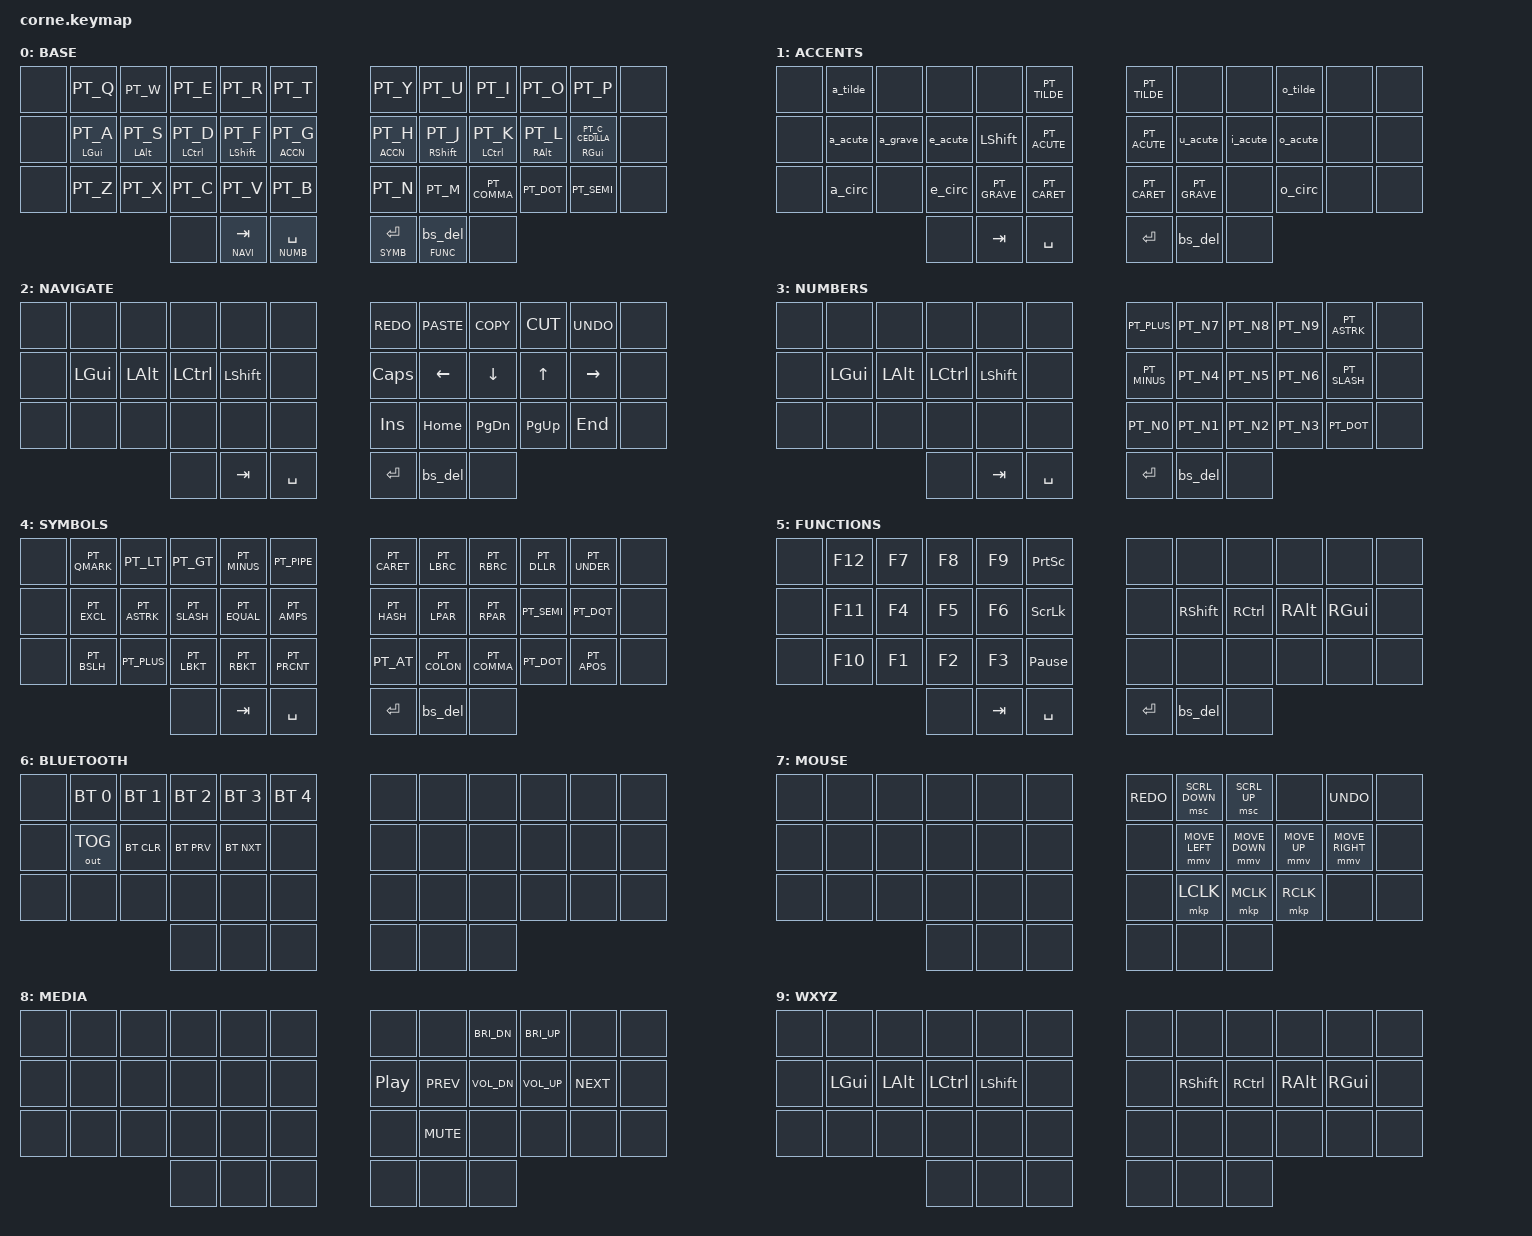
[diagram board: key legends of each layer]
/*
 * Copyright (c) 2020 The ZMK Contributors
 *
 * SPDX-License-Identifier: MIT
 */

// ZMK headers
#include <behaviors.dtsi>
#include <dt-bindings/zmk/bt.h>
#include <dt-bindings/zmk/keys.h>
#include <dt-bindings/zmk/outputs.h>
#include <dt-bindings/zmk/pointing.h>
#include "keys_pt_abnt2.h"              //  ABNT2 keyboard

#define HM_TAPPING_TERM 200
#define HM_PRIOR_IDLE   150

// Layer definitions
#define BASE  0                         //  Camada base
#define ACCN  1                         //  Acentos e letras já acentuadas
#define NAVI  2                         //  Navegação
#define NUMB  3                         //  Números e símbolos de fácil acesso
#define SYMB  4                         //  Símbolos
#define FUNC  5                         //  Funções
#define BLTH  6                         //  Bluetooth e funções de conectividade sem fio
#define MOUS  7                         //  Mouse keys e funções de controle de cursor
#define MDIA  8                         //  Ativa a camada de mídia
#define WXYZ  9                         //  Camada reserva

// Behavior configuration
&mt {
  tapping-term-ms   = <HM_TAPPING_TERM>;
  flavor            = "tap-preferred";
};

&lt {
  tapping-term-ms   = <HM_TAPPING_TERM>;
  flavor            = "tap-preferred";
};

/ {
  combos {
    compatible        = "zmk,combos";

    //  Combo CAPS_WORD:
    combo_caps_word {
      //  Apertar as letras "F" (16) + "J" (19) juntos ativa o CAPS_WORD
      key-positions   = <16 19>;      //  Posição física das teclas F e J
      bindings        = <&caps_word>;
    };

    //  Combos tecla ESC:
    combo_esc_left {
      //  Apertar as letras "E" (3) + "T" (4) juntos ativa a tecla ESC
      key-positions   = <3 4>;      //  Posição física das teclas E e T
      bindings        = <&kp ESC>;
    };
    combo_esc_right {
      //  Apertar as letras "U" (7) + "I" (8) juntos ativa a tecla ESC
      key-positions   = <7 8>;      //  Posição física das teclas U e I
      bindings        = <&kp ESC>;
    };

    //  Combos tecla ENTER:
    combo_enter_left {
      //  Apertar as letras "C" (27) + "V" (28) juntos ativa a tecla ENTER
      key-positions   = <27 28>;      //  Posição física das teclas C e V
      bindings        = <&kp ENTER>;
    };
    combo_enter_right {
      //  Apertar as letras "M" (31) + "," (32) juntos ativa a tecla ENTER
      key-positions   = <31 32>;      //  Posição física das teclas M e ,
      bindings        = <&kp ENTER>;
    };

    //  Camada do mouse:
    combo_mouse {
      //  Apertar a letra "B" (29) + "TAB" (37) juntos abre a camada MOUS
      timeout-ms      = <50>;         //  Janela de tempo para o aperto simultâneo
      key-positions   = <29 37>;      //  Posição física das teclas B e TAB
      bindings        = <&mo MOUS>;   //  Ativa temporariamente a camada Mouse
    };

    //  Camada de bluetooth:
    combo_bluetooth {
      //  Apertar a letra "N" (30) + "BSPC" (40) juntos abre a Camada BLTH
      timeout-ms      = <50>;         //  Janela de tempo para o aperto simultâneo
      key-positions   = <30 40>;      //  Posição física das teclas N e BSPC
      bindings        = <&mo BLTH>;   //  Ativa temporariamente a camada Bluetooth
    };

    //  Camada de mídia:
    combo_media {
      //  Apertar a letra "V" (28) + "TAB" (37) juntos abre a Camada MDIA
      timeout-ms      = <50>;         //  Janela de tempo para o aperto simultâneo
      key-positions   = <28 37>;      //  Posição física das teclas V e TAB
      bindings        = <&mo MDIA>;   //  Ativa temporariamente a camada MEDIA
    };

    // Fixar camada de acentos (ACCN)
    combo_lock_accents {
      //  Apertar as letras "G" (17) + "H" (18) fixa ACCN
      timeout-ms      = <60>;
      key-positions   = <17 18>;
      bindings        = <&to ACCN>;
    };

    // Fixar camada de navegação (NAVI)
    combo_lock_navi {
      //  Apertar a letra "G" (17) + "TAB" (37) fixa NAVI
      timeout-ms      = <60>;
      key-positions   = <17 37>;
      bindings        = <&to NAVI>;
    };

    // Fixar camada de números (NUMB)
    combo_lock_numb {
      //  Apertar a tecla "G" (17) + "SPACE" (38) fixa NUMB
      timeout-ms      = <60>;
      key-positions   = <17 38>;
      bindings        = <&to NUMB>;
    };

    // Fixar camada de símbolos (SYMB)
    combo_lock_symb {
      //  Apertar a tecla "H" (18) + "ENTER" (39) fixa SYMB
      timeout-ms      = <60>;
      key-positions   = <18 39>;
      bindings        = <&to SYMB>;
    };

    // Fixar camada de funções (FUNC)
    combo_lock_func {
      //  Apertar a tecla "H" (18) + "BSPC" (40) fixa FUNC
      timeout-ms      = <60>;
      key-positions   = <18 40>;
      bindings        = <&to FUNC>;
    };

    // Fixar camada default (BASE)
    combo_lock_base {
      //  Apertar a tecla "SPACE" (38) + "ENTER" (39) fixa SYMB
      timeout-ms      = <60>;
      key-positions   = <38 39>;
      bindings        = <&to BASE>;
    };
  };

  macros {
    accent: acute {
      compatible      = "zmk,behavior-macro-two-param";
      label           = "ACUTE";
      #binding-cells  = <2>;
      bindings        = <&macro_tap>
                      , <&macro_param_1to1 &kp MACRO_PLACEHOLDER>
                      , <&macro_tap>
                      , <&macro_param_2to1 &kp MACRO_PLACEHOLDER>;
    };
  };

  behaviors {
    // Behavior único de Home Row Mod (unificado partes esquerda e direita)
    hm: homerow_mods {
      compatible            = "zmk,behavior-hold-tap";
      #binding-cells        = <2>;
      flavor                = "balanced";
      tapping-term-ms       = <HM_TAPPING_TERM>;
      quick-tap-ms          = <175>;
      require-prior-idle-ms = <HM_PRIOR_IDLE>;
      bindings              = <&kp>, <&kp>;
      hold-trigger-on-release;
      global-quick-tap;
    };

    // Mod-morphs para acentuação
    a_tilde: a_tilde {
      compatible            = "zmk,behavior-mod-morph";
      label                 = "A_TILDE";
      #binding-cells        = <0>;
      mods                  = <(MOD_LSFT|MOD_RSFT)>;
      bindings              = <&accent PT_TILDE PT_A>
                            , <&accent PT_TILDE LS(PT_A)>;
    };

    a_acute: a_acute {
      compatible            = "zmk,behavior-mod-morph";
      label                 = "A_ACUTE";
      #binding-cells        = <0>;
      mods                  = <(MOD_LSFT|MOD_RSFT)>;
      bindings              = <&accent PT_ACUTE PT_A>
                            , <&accent PT_ACUTE LS(PT_A)>;
    };

    a_circ: a_circ {
      compatible            = "zmk,behavior-mod-morph";
      label                 = "A_CIRC";
      #binding-cells        = <0>;
      mods                  = <(MOD_LSFT|MOD_RSFT)>;
      bindings              = <&accent PT_CARET PT_A>
                            , <&accent PT_CARET LS(PT_A)>;
    };

    a_grave: a_grave {
      compatible            = "zmk,behavior-mod-morph";
      label                 = "A_GRAVE";
      #binding-cells        = <0>;
      mods                  = <(MOD_LSFT|MOD_RSFT)>;
      bindings              = <&accent PT_GRAVE PT_A>
                            , <&accent PT_GRAVE LS(PT_A)>;
    };

    e_acute: e_acute {
      compatible            = "zmk,behavior-mod-morph";
      label                 = "E_ACUTE";
      #binding-cells        = <0>;
      mods                  = <(MOD_LSFT|MOD_RSFT)>;
      bindings              = <&accent PT_ACUTE PT_E>
                            , <&accent PT_ACUTE LS(PT_E)>;
    };

    e_circ: e_circ {
      compatible            = "zmk,behavior-mod-morph";
      label                 = "E_CIRC";
      #binding-cells        = <0>;
      mods                  = <(MOD_LSFT|MOD_RSFT)>;
      bindings              = <&accent PT_CARET PT_E>
                            , <&accent PT_CARET LS(PT_E)>;
    };

    i_acute: i_acute {
      compatible            = "zmk,behavior-mod-morph";
      label                 = "I_ACUTE";
      #binding-cells        = <0>;
      mods                  = <(MOD_LSFT|MOD_RSFT)>;
      bindings              = <&accent PT_ACUTE PT_I>
                            , <&accent PT_ACUTE LS(PT_I)>;
    };

    o_tilde: o_tilde {
      compatible            = "zmk,behavior-mod-morph";
      label                 = "O_TILDE";
      #binding-cells        = <0>;
      mods                  = <(MOD_LSFT|MOD_RSFT)>;
      bindings              = <&accent PT_TILDE PT_O>
                            , <&accent PT_TILDE LS(PT_O)>;
    };

    o_acute: o_acute {
      compatible            = "zmk,behavior-mod-morph";
      label                 = "O_ACUTE";
      #binding-cells        = <0>;
      mods                  = <(MOD_LSFT|MOD_RSFT)>;
      bindings              = <&accent PT_ACUTE PT_O>
                            , <&accent PT_ACUTE LS(PT_O)>;
    };

    o_circ: o_circ {
      compatible            = "zmk,behavior-mod-morph";
      label                 = "O_CIRC";
      #binding-cells        = <0>;
      mods                  = <(MOD_LSFT|MOD_RSFT)>;
      bindings              = <&accent PT_CARET PT_O>
                            , <&accent PT_CARET LS(PT_O)>;
    };

    u_acute: u_acute {
      compatible            = "zmk,behavior-mod-morph";
      label                 = "U_ACUTE";
      #binding-cells        = <0>;
      mods                  = <(MOD_LSFT|MOD_RSFT)>;
      bindings              = <&accent PT_ACUTE PT_U>
                            , <&accent PT_ACUTE LS(PT_U)>;
    };

    // Shift + Backspace = Delete
    bs_del: backspace_delete {
      compatible            = "zmk,behavior-mod-morph";
      #binding-cells        = <0>;
      bindings              = <&kp BSPC>, <&kp DEL>;
      mods                  = <(MOD_LSFT|MOD_RSFT)>;
    };

    lt_bspc: layer_tap_backspace {
      compatible            = "zmk,behavior-hold-tap";
      #binding-cells        = <2>;
      flavor                = "balanced";
      tapping-term-ms       = <200>;
      quick-tap-ms          = <175>;
      bindings              = <&mo>, <&bs_del>;
    };
  };

  keymap {
    compatible = "zmk,keymap";

    //  ---------------------------------------------------------------
    //  BASE  - 0 - Camada base
    //  ---------------------------------------------------------------
    base_layer {
//      display-name  = "BASE";
//      label         = "Default";
//      bindings      = <
//        //  ╭───────────────┬───────────────┬───────────────┬───────────────┬───────────────╮ ╭───────────────┬───────────────┬───────────────┬───────────────┬───────────────╮
//        &none &kp PT_Q        &kp PT_W        &kp PT_E        &kp PT_R        &kp PT_T          &kp PT_Y        &kp PT_U        &kp PT_I        &kp PT_O        &kp PT_P      &none
//        //  ├───────────────┼───────────────┼───────────────┼───────────────┼───────────────┤ ├───────────────┼───────────────┼───────────────┼───────────────┼───────────────┤
//        &none &hm LGUI PT_A   &hm LALT PT_S   &hm LCTRL PT_D  &hm LSHFT PT_F  &kp PT_G          &kp PT_H        &hm RSHFT PT_J  &hm LCTRL PT_K  &hm RALT PT_L   &hm RGUI PT_C_CEDILLA &none
//        //  ├───────────────┼───────────────┼───────────────┼───────────────┼───────────────┤ ├───────────────┼───────────────┼───────────────┼───────────────┼───────────────┤
//        &none &kp PT_Z        &kp PT_X        &kp PT_C        &kp PT_V        &kp PT_B          &kp PT_N        &kp PT_M        &kp PT_COMMA    &kp PT_DOT      &kp PT_SEMI   &none
//        //  ╰───────────────┴───────────────┼───────────────┼───────────────┼───────────────┤ ├───────────────┼───────────────┼───────────────┼───────────────┼───────────────╯
//                                              &lt ACCN ESC    &lt NAVI TAB    &lt NUMB SPACE    &lt SYMB SPACE  &lt_bspc FUNC 0 &lt ACCN RET
//        //                                  ╰───────────────┴───────────────┴───────────────╯ ╰───────────────┴───────────────┴───────────────╯
//                                              &to BASE        &kp TAB         &kp SPACE         &kp SPACE       &bs_del         &kp RET
//        //                                  ╰───────────────┴───────────────┴───────────────╯ ╰───────────────┴───────────────┴───────────────╯
//      >;
      display-name  = "BASE";
      label         = "Default";
      bindings      = <
        //  ╭───────────────┬───────────────┬───────────────┬───────────────┬───────────────╮ ╭───────────────┬───────────────┬───────────────┬───────────────┬───────────────╮
        &none &kp PT_Q        &kp PT_W        &kp PT_E        &kp PT_R        &kp PT_T          &kp PT_Y        &kp PT_U        &kp PT_I        &kp PT_O        &kp PT_P      &none
        //  ├───────────────┼───────────────┼───────────────┼───────────────┼───────────────┤ ├───────────────┼───────────────┼───────────────┼───────────────┼───────────────┤
        &none &hm LGUI PT_A   &hm LALT PT_S   &hm LCTRL PT_D  &hm LSHFT PT_F  &lt ACCN PT_G     &lt ACCN PT_H   &hm RSHFT PT_J  &hm LCTRL PT_K  &hm RALT PT_L   &hm RGUI PT_C_CEDILLA &none
        //  ├───────────────┼───────────────┼───────────────┼───────────────┼───────────────┤ ├───────────────┼───────────────┼───────────────┼───────────────┼───────────────┤
        &none &kp PT_Z        &kp PT_X        &kp PT_C        &kp PT_V        &kp PT_B          &kp PT_N        &kp PT_M        &kp PT_COMMA    &kp PT_DOT      &kp PT_SEMI   &none
        //  ╰───────────────┴───────────────┼───────────────┼───────────────┼───────────────┤ ├───────────────┼───────────────┼───────────────┼───────────────┼───────────────╯
        &none                                                 &lt NAVI TAB    &lt NUMB SPACE    &lt SYMB RET    &lt_bspc FUNC 0                                               &none
        //                                                  ╰───────────────┴───────────────╯ ╰───────────────┴───────────────╯
      >;
    };

    //  ---------------------------------------------------------------
    //  ACCN  - 1 - Acentos e letras já acentuadas
    //  ---------------------------------------------------------------
    accents_layer {
      display-name  = "ACCENTS";
      label         = "Accents";
      bindings      = <
        //  ╭───────────────┬───────────────┬───────────────┬───────────────┬───────────────╮ ╭───────────────┬───────────────┬───────────────┬───────────────┬───────────────╮
        &none &a_tilde        &none           &none           &none           &kp PT_TILDE      &kp PT_TILDE    &none           &none           &o_tilde        &none         &none
        //  ├───────────────┼───────────────┼───────────────┼───────────────┼───────────────┤ ├───────────────┼───────────────┼───────────────┼───────────────┼───────────────┤
        &none &a_acute        &a_grave        &e_acute        &kp LSHFT       &kp PT_ACUTE      &kp PT_ACUTE    &u_acute        &i_acute        &o_acute        &none         &none
        //  ├───────────────┼───────────────┼───────────────┼───────────────┼───────────────┤ ├───────────────┼───────────────┼───────────────┼───────────────┼───────────────┤
        &none &a_circ         &none           &e_circ         &kp PT_GRAVE    &kp PT_CARET      &kp PT_CARET    &kp PT_GRAVE    &none           &o_circ         &none         &none
        //  ╰───────────────┴───────────────┼───────────────┼───────────────┼───────────────┤ ├───────────────┼───────────────┼───────────────┼───────────────┼───────────────╯
        &none                                                 &kp TAB         &kp SPACE         &kp RET         &bs_del                                                       &none
        //                                                  ╰───────────────┴───────────────╯ ╰───────────────┴───────────────╯
      >;
    };

    //  ---------------------------------------------------------------
    //  NAVI  - 2 - Navegação
    //  ---------------------------------------------------------------
    navi_layer {
      display-name  = "NAVIGATE";
      label         = "Navigation";
      bindings      = <
        //  ╭───────────────┬───────────────┬───────────────┬───────────────┬───────────────╮ ╭───────────────┬───────────────┬───────────────┬───────────────┬───────────────╮
        &none &none           &none           &none           &none           &none             &kp K_REDO      &kp K_PASTE     &kp K_COPY      &kp K_CUT       &kp K_UNDO    &none
        //  ├───────────────┼───────────────┼───────────────┼───────────────┼───────────────┤ ├───────────────┼───────────────┼───────────────┼───────────────┼───────────────┤
        &none &kp LGUI        &kp LALT        &kp LCTRL       &kp LSHFT       &none             &kp CAPS        &kp LEFT        &kp DOWN        &kp UP          &kp RIGHT     &none
        //  ├───────────────┼───────────────┼───────────────┼───────────────┼───────────────┤ ├───────────────┼───────────────┼───────────────┼───────────────┼───────────────┤
        &none &none           &none           &none           &none           &none             &kp INS         &kp HOME        &kp PG_DN       &kp PG_UP       &kp END       &none
        //  ╰───────────────┴───────────────┼───────────────┼───────────────┼───────────────┤ ├───────────────┼───────────────┼───────────────┼───────────────┼───────────────╯
        &none                                                 &kp TAB         &kp SPACE         &kp RET         &bs_del                                                       &none
        //                                                  ╰───────────────┴───────────────╯ ╰───────────────┴───────────────╯
      >;
    };

    //  ---------------------------------------------------------------
    //  NUMB  - 3 - Números e símbolos de fácil acesso
    //  ---------------------------------------------------------------
    numb_layer {
      display-name  = "NUMBERS";
      label         = "Numbers";
      bindings      = <
        //  ╭───────────────┬───────────────┬───────────────┬───────────────┬───────────────╮ ╭───────────────┬───────────────┬───────────────┬───────────────┬───────────────╮
        &none &none           &none           &none           &none           &none             &kp PT_PLUS     &kp PT_N7       &kp PT_N8       &kp PT_N9       &kp PT_ASTRK  &none
        //  ├───────────────┼───────────────┼───────────────┼───────────────┼───────────────┤ ├───────────────┼───────────────┼───────────────┼───────────────┼───────────────┤
        &none &kp LGUI        &kp LALT        &kp LCTRL       &kp LSHFT       &none             &kp PT_MINUS    &kp PT_N4       &kp PT_N5       &kp PT_N6       &kp PT_SLASH  &none
        //  ├───────────────┼───────────────┼───────────────┼───────────────┼───────────────┤ ├───────────────┼───────────────┼───────────────┼───────────────┼───────────────┤
        &none &none           &none           &none           &none           &none             &kp PT_N0       &kp PT_N1       &kp PT_N2       &kp PT_N3       &kp PT_DOT    &none
        //  ╰───────────────┴───────────────┼───────────────┼───────────────┼───────────────┤ ├───────────────┼───────────────┼───────────────┼──────────────—┼———————————————╯
        &none                                                 &kp TAB         &kp SPACE         &kp RET         &bs_del                                                       &none
        //                                                  ╰───────────────┴───────────────╯ ╰───────────────┴───────────────╯
      >;
    };

    //  ---------------------------------------------------------------
    //  SYMB  - 4 - Símbolos
    //  ---------------------------------------------------------------
    symb_layer {
      display-name  = "SYMBOLS";
      label         = "Symbols";
      bindings      = <
        //  ╭───────────────┬───────────────┬───────────────┬───────────────┬───────────────╮ ╭───────────────┬───────────────┬───────────────┬───────────────┬───────────────╮
        &none &kp PT_QMARK    &kp PT_LT       &kp PT_GT       &kp PT_MINUS    &kp PT_PIPE       &kp PT_CARET    &kp PT_LBRC     &kp PT_RBRC     &kp PT_DLLR     &kp PT_UNDER  &none
        //  ├───────────────┼───────────────┼───────────────┼───────────────┼───────────────┤ ├───────────────┼───────────────┼───────────────┼───────────────┼───────────────┤
        &none &kp PT_EXCL     &kp PT_ASTRK    &kp PT_SLASH    &kp PT_EQUAL    &kp PT_AMPS       &kp PT_HASH     &kp PT_LPAR     &kp PT_RPAR     &kp PT_SEMI     &kp PT_DQT    &none
        //  ├───────────────┼───────────────┼───────────────┼───────────────┼───────────────┤ ├───────────────┼───────────────┼───────────────┼───────────────┼───────────────┤
        &none &kp PT_BSLH     &kp PT_PLUS     &kp PT_LBKT     &kp PT_RBKT     &kp PT_PRCNT      &kp PT_AT       &kp PT_COLON    &kp PT_COMMA    &kp PT_DOT      &kp PT_APOS   &none
        //  ╰───────────────┴───────────────┼───────────────┼───────────────┼───────────────┤ ├───────────────┼───────────────┼───────────────┼───────────────┼───────────────╯
        &none                                                 &kp TAB         &kp SPACE         &kp RET         &bs_del                                                       &none
        //                                                  ╰───────────────┴───────────────╯ ╰───────────────┴───────────────╯
      >;
    };

    //  ---------------------------------------------------------------
    //  FUNC  - 5 - Funções
    //  ---------------------------------------------------------------
    func_layer {
      display-name  = "FUNCTIONS";
      label         = "Functions";
      bindings      = <
        //  ╭───────────────┬───────────────┬───────────────┬───────────────┬───────────────╮ ╭───────────────┬───────────────┬───────────────┬───────────────┬───────────────╮
        &none &kp F12         &kp F7          &kp F8          &kp F9          &kp PSCRN         &none           &none           &none           &none           &none         &none
        //  ├───────────────┼───────────────┼───────────────┼───────────────┼───────────────┤ ├───────────────┼───────────────┼───────────────┼───────────────┼───────────────┤
        &none &kp F11         &kp F4          &kp F5          &kp F6          &kp SLCK          &none           &kp RSHFT       &kp RCTRL       &kp RALT        &kp RGUI      &none
        //  ├───────────────┼───────────────┼───────────────┼───────────────┼───────────────┤ ├───────────────┼───────────────┼───────────────┼───────────────┼───────────────┤
        &none &kp F10         &kp F1          &kp F2          &kp F3          &kp PAUSE_BREAK   &none           &none           &none           &none           &none         &none
        //  ╰───────────────┴───────────────┼───────────────┼───────────────┼───────────────┤ ├───────────────┼───────────────┼───────────────┼───────────────┼───────────────╯
        &none                                                 &kp TAB         &kp SPACE         &kp RET         &bs_del                                                       &none
        //                                                  ╰───────────────┴───────────────╯ ╰───────────────┴───────────────╯
      >;
    };

    //  ---------------------------------------------------------------
    //  BLTH  - 6 - Bluetooth e funções de conectividade sem fio
    //  ---------------------------------------------------------------
    blth_layer {
      display-name  = "BLUETOOTH";
      label         = "Bluetooth";
      bindings      = <
        //  ╭───────────────┬───────────────┬───────────────┬───────────────┬───────────────╮ ╭───────────────┬───────────────┬───────────────┬───────────────┬───────────────╮
        &none &bt BT_SEL 0    &bt BT_SEL 1    &bt BT_SEL 2    &bt BT_SEL 3    &bt BT_SEL 4      &none           &none           &none           &none           &none         &none
        //  ├───────────────┼───────────────┼───────────────┼───────────────┼───────────────┤ ├───────────────┼───────────────┼───────────────┼───────────────┼───────────────┤
        &none &out OUT_TOG    &bt BT_CLR      &bt BT_PRV      &bt BT_NXT      &none             &none           &none           &none           &none           &none         &none
        //  ├───────────────┼───────────────┼───────────────┼───────────────┼───────────────┤ ├───────────────┼───────────────┼───────────────┼───────────────┼───────────────┤
        &none &none           &none           &none           &none           &none             &none           &none           &none           &none           &none         &none
        //  ╰───────────────┴───────────────┼───────────────┼───────────────┼───────────────┤ ├───────────────┼───────────────┼───────────────┼───────────────┼───────────────╯
        &none                                                 &none           &none             &none           &none                                                         &none
        //                                                  ╰───────────────┴───────────────╯ ╰───────────────┴───────────────╯
      >;
    };

    //  ---------------------------------------------------------------
    //  MOUS  - 7 - Mouse keys e funções de controle de cursor
    //  ---------------------------------------------------------------
    mous_layer {
      display-name  = "MOUSE";
      label         = "Mouse";
      bindings      = <
        //  ╭───────────────┬───────────────┬───────────────┬───────────────┬───────────────╮ ╭───────────────┬───────────────┬───────────────┬───────────────┬───────────────╮
        &none &none           &none           &none           &none           &none             &kp K_REDO      &msc SCRL_DOWN  &msc SCRL_UP    &none           &kp K_UNDO    &none
        //  ├───────────────┼───────────────┼───────────────┼───────────────┼───────────────┤ ├───────────────┼───────────────┼───────────────┼───────────────┼───────────────┤
        &none &none           &none           &none           &none           &none             &none           &mmv MOVE_LEFT  &mmv MOVE_DOWN  &mmv MOVE_UP    &mmv MOVE_RIGHT &none
        //  ├───────────────┼───────────────┼───────────────┼───────────────┼───────────────┤ ├───────────────┼───────────────┼───────────────┼───────────────┼───────────────┤
        &none &none           &none           &none           &none           &none             &none           &mkp LCLK       &mkp MCLK       &mkp RCLK       &none         &none
        //  ╰───────────────┴───────────────┼───────────────┼───────────────┼───────────────┤ ├───────────────┼───────────────┼───────────────┼───────────────┼───────────────╯
        &none                                                 &none           &none             &none           &none                                                         &none
        //                                                  ╰───────────────┴───────────────╯ ╰───────────────┴───────────────╯
      >;
    };

    //  ---------------------------------------------------------------
    //  MDIA  - 8 - Camada de mídia
    //  ---------------------------------------------------------------
    media_layer {
      display-name  = "MEDIA";
      label         = "Media";
      bindings      = <
        //  ╭───────────────┬───────────────┬───────────────┬───────────────┬───────────────╮ ╭───────────────┬───────────────┬───────────────┬───────────────┬───────────────╮
        &none &none           &none           &none           &none           &none             &none           &none           &kp C_BRI_DN    &kp C_BRI_UP    &none         &none
        //  ├───────────────┼───────────────┼───────────────┼───────────────┼───────────────┤ ├───────────────┼───────────────┼───────────────┼───────────────┼───────────────┤
        &none &none           &none           &none           &none           &none             &kp C_PLAY_PAUSE  &kp C_PREV    &kp C_VOL_DN    &kp C_VOL_UP    &kp C_NEXT    &none
        //  ├───────────────┼───────────────┼───────────────┼───────────────┼───────────────┤ ├───────────────┼───────────────┼───────────────┼───────────────┼───────────────┤
        &none &none           &none           &none           &none           &none             &none           &kp C_MUTE	    &none           &none           &none         &none
        //  ╰───────────────┴───────────────┼───────────────┼───────────────┼───────────────┤ ├───────────────┼───────────────┼───────────────┼───────────────┼───────────────╯
        &none                                                 &none           &none             &none           &none                                                         &none
        //                                                  ╰───────────────┴───────────────╯ ╰───────────────┴───────────────╯
      >;
    };

    //  ---------------------------------------------------------------
    //  WXYZ  - 8 - Camada reserva
    //  ---------------------------------------------------------------
    wxyz_layer {
      display-name  = "WXYZ";
      label         = "Reservado";
      bindings      = <
        //  ╭───────────────┬───────────────┬───────────────┬───────────────┬───────────────╮ ╭───────────────┬───────────────┬───────────────┬───────────────┬───────────────╮
        &none &none           &none           &none           &none           &none             &none           &none           &none           &none           &none         &none
        //  ├───────────────┼───────────────┼───────────────┼───────────────┼───────────────┤ ├───────────────┼───────────────┼───────────────┼───────────────┼───────────────┤
        &none &kp LGUI        &kp LALT        &kp LCTRL       &kp LSHFT       &none             &none           &kp RSHFT       &kp RCTRL       &kp RALT        &kp RGUI      &none
        //  ├───────────────┼───────────────┼───────────────┼───────────────┼───────────────┤ ├───────────────┼───────────────┼───────────────┼───────────────┼───────────────┤
        &none &none           &none           &none           &none           &none             &none           &none           &none           &none           &none         &none
        //  ╰───────────────┴───────────────┼───────────────┼───────────────┼───────────────┤ ├───────────────┼───────────────┼───────────────┼───────────────┼───────────────╯
        &none                                                 &none           &none             &none           &none                                                         &none
        //                                                  ╰───────────────┴───────────────╯ ╰───────────────┴───────────────╯
      >;
    };
  };
};
